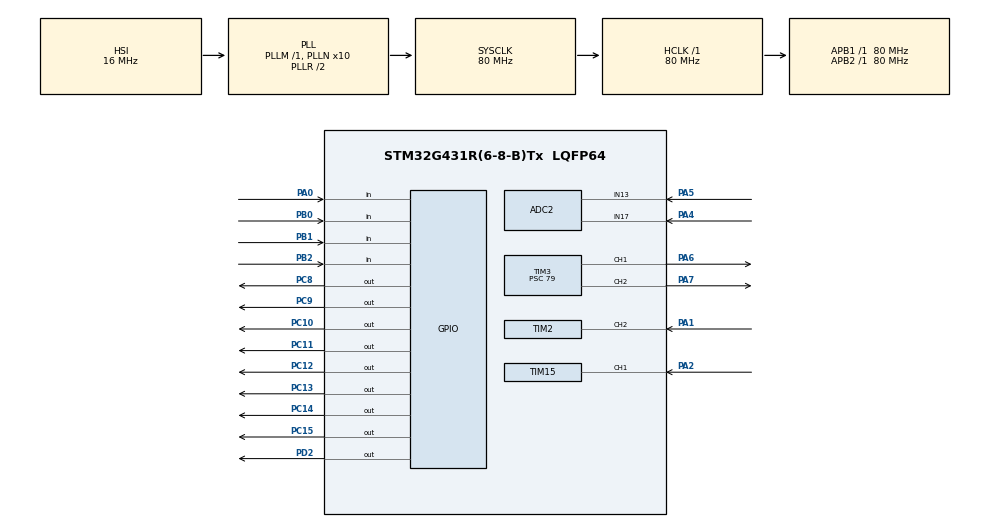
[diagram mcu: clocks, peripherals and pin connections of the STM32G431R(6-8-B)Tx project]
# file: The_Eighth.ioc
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ADC2.Channel-0\#ChannelRegularConversion=ADC_CHANNEL_17
ADC2.NbrOfConversionFlag=1
ADC2.OffsetNumber-0\#ChannelRegularConversion=ADC_OFFSET_NONE
ADC2.Rank-0\#ChannelRegularConversion=1
ADC2.SamplingTime-0\#ChannelRegularConversion=ADC_SAMPLETIME_2CYCLES_5
Mcu.Family=STM32G4
Mcu.Name=STM32G431R(6-8-B)Tx
Mcu.Package=LQFP64
NVIC.PriorityGroup=NVIC_PRIORITYGROUP_4
NVIC.TIM1_BRK_TIM15_IRQn=true\:1\:0\:true\:false\:true\:true\:true
NVIC.TIM2_IRQn=true\:1\:0\:true\:false\:true\:true\:true
NVIC.TIM3_IRQn=true\:1\:0\:true\:false\:true\:true\:true
PA0.Signal=GPIO_Input
PA1.Signal=S_TIM2_CH2
PA2.Signal=S_TIM15_CH1
PA4.Mode=IN17-Single-Ended
PA4.Signal=ADC2_IN17
PA5.Mode=IN13-Single-Ended
PA5.Signal=ADC2_IN13
PA6.Signal=S_TIM3_CH1
PA7.Signal=S_TIM3_CH2
PB0.Signal=GPIO_Input
PB1.Signal=GPIO_Input
PB2.Signal=GPIO_Input
PC10.GPIO_PuPd=GPIO_PULLUP
PC10.Signal=GPIO_Output
PC11.GPIO_PuPd=GPIO_PULLUP
PC11.Signal=GPIO_Output
PC12.GPIO_PuPd=GPIO_PULLUP
PC12.Signal=GPIO_Output
PC13.GPIO_PuPd=GPIO_PULLUP
PC13.Signal=GPIO_Output
PC14-OSC32_IN.GPIO_PuPd=GPIO_PULLUP
PC14-OSC32_IN.Signal=GPIO_Output
PC15-OSC32_OUT.GPIO_PuPd=GPIO_PULLUP
PC15-OSC32_OUT.Signal=GPIO_Output
PC8.GPIO_PuPd=GPIO_PULLUP
PC8.Signal=GPIO_Output
PC9.GPIO_PuPd=GPIO_PULLUP
PC9.Signal=GPIO_Output
PD2.PinState=GPIO_PIN_SET
PD2.Signal=GPIO_Output
ProjectManager.HeapSize=0x200
ProjectManager.StackSize=0x400
ProjectManager.TargetToolchain=MDK-ARM V5.32
RCC.ADC12Freq_Value=80000000
RCC.AHBFreq_Value=80000000
RCC.APB1Freq_Value=80000000
RCC.APB1TimFreq_Value=80000000
RCC.APB2Freq_Value=80000000
RCC.APB2TimFreq_Value=80000000
RCC.CortexFreq_Value=80000000
RCC.EXTERNAL_CLOCK_VALUE=12288000
RCC.HCLKFreq_Value=80000000
RCC.HSE_VALUE=8000000
RCC.HSI48_VALUE=48000000
RCC.HSI_VALUE=16000000
RCC.LSE_VALUE=32768
RCC.PLLN=10
RCC.SYSCLKFreq_VALUE=80000000
RCC.SYSCLKSource=RCC_SYSCLKSOURCE_PLLCLK
RCC.USBFreq_Value=80000000
RCC.VCOOutputFreq_Value=160000000
SH.S_TIM15_CH1.0=TIM15_CH1,Input_Capture1_from_TI1
SH.S_TIM15_CH1.1=TIM15_CH1,TriggerSource_TI1FP1
SH.S_TIM2_CH2.0=TIM2_CH2,Input_Capture2_from_TI2
SH.S_TIM2_CH2.1=TIM2_CH2,TriggerSource_TI2FP2
SH.S_TIM3_CH1.0=TIM3_CH1,Output Compare1 CH1
SH.S_TIM3_CH2.0=TIM3_CH2,Output Compare2 CH2
TIM15.Channel-Input_Capture1_from_TI1=TIM_CHANNEL_1
TIM15.Prescaler=79
TIM2.AutoReloadPreload=TIM_AUTORELOAD_PRELOAD_DISABLE
TIM2.Channel-Input_Capture2_from_TI2=TIM_CHANNEL_2
TIM2.Prescaler=79
TIM3.AutoReloadPreload=TIM_AUTORELOAD_PRELOAD_DISABLE
TIM3.Channel-Output\ Compare1\ CH1=TIM_CHANNEL_1
TIM3.Channel-Output\ Compare2\ CH2=TIM_CHANNEL_2
TIM3.OCMode_1=TIM_OCMODE_TOGGLE
TIM3.OCMode_2=TIM_OCMODE_TOGGLE
TIM3.OCPolarity_1=TIM_OCPOLARITY_LOW
TIM3.OCPolarity_2=TIM_OCPOLARITY_LOW
TIM3.PeriodNoDither=9999
TIM3.Prescaler=79
TIM3.PulseNoDither_1=0
TIM3.PulseNoDither_2=0
VP_SYS_VS_DBSignals.Mode=DisableDeadBatterySignals
VP_TIM15_VS_ClockSourceINT.Mode=Internal
VP_TIM15_VS_ControllerModeReset.Mode=Reset Mode
VP_TIM2_VS_ClockSourceINT.Mode=Internal
VP_TIM2_VS_ControllerModeReset.Mode=Reset Mode
VP_TIM3_VS_ClockSourceINT.Mode=Internal
board=custom

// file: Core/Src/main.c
/* USER CODE BEGIN Header */
/**
  ******************************************************************************
  * @file           : main.c
  * @brief          : Main program body
  ******************************************************************************
  * @attention
  *
  * Copyright (c) 2022 STMicroelectronics.
  * All rights reserved.
  *
  * This software is licensed under terms that can be found in the LICENSE file
  * in the root directory of this software component.
  * If no LICENSE file comes with this software, it is provided AS-IS.
  *
  ******************************************************************************
  */
/* USER CODE END Header */
#include "main.h"
#include "adc.h"
#include "tim.h"
#include "gpio.h"

/* USER CODE BEGIN PV */
__IO uint32_t uwTick_Lcd_Set_Point;
__IO uint32_t uwTick_Key_Set_Point;
__IO uint32_t uwTick_ADC_Set_Point;
__IO uint32_t uwTick_Led_Set_Point;

unsigned char pucStr_Disp[21], pucStr[2];
unsigned char ucKey_Val, ucKey_Down, ucKey_Old;
unsigned char ucState;
uint16_t PULS1_T_Count, PULS2_T_Count;
uint16_t FRQ1, FRQ2;
float ADC_Value_AO1, ADC_Value_AO2;
uint8_t Dividing = 1, Doubling = 1;
unsigned char ucLed;
/* USER CODE END PV */

void SystemClock_Config(void);
/* USER CODE BEGIN PFP */
void Lcd_Proc(void);
void Key_Proc(void);
void ADC_Proc(void);
void Led_Proc(void);
void Output_Ctrl(_Bool state);
/* USER CODE END PFP */

int main(void)
{

  /* MCU Configuration--------------------------------------------------------*/

  /* Reset of all peripherals, Initializes the Flash interface and the Systick. */
  HAL_Init();

  /* Configure the system clock */
  SystemClock_Config();

  /* Initialize all configured peripherals */
  MX_GPIO_Init();
  MX_ADC2_Init();
  MX_TIM2_Init();
  MX_TIM3_Init();
  MX_TIM15_Init();
  /* USER CODE BEGIN 2 */
	LCD_Init();
	LCD_Clear(Black);
	LCD_SetBackColor(Black);
	LCD_SetTextColor(White);

	I2CInit();
	I2C_24CO2_Read(pucStr, 0, 2);
	Dividing = pucStr[0];
	Doubling = pucStr[1];
	if((Dividing < 1) || (Dividing > 4))
		Dividing = 1;
	if((Doubling < 1) || (Doubling > 4))
		Doubling = 1;

	HAL_TIM_IC_Start_IT(&htim2, TIM_CHANNEL_2);
	HAL_TIM_IC_Start_IT(&htim15, TIM_CHANNEL_1);

	HAL_TIM_OC_Start_IT(&htim3, TIM_CHANNEL_1);
	HAL_TIM_OC_Start_IT(&htim3, TIM_CHANNEL_2);
  /* USER CODE END 2 */

  /* Infinite loop */
  while (1)
  {

    /* USER CODE BEGIN 3 */
		Led_Proc();
		Lcd_Proc();
		Key_Proc();
		ADC_Proc();
  }
  /* USER CODE END 3 */
}

void SystemClock_Config(void)
{
  RCC_OscInitTypeDef RCC_OscInitStruct = {0};
  RCC_ClkInitTypeDef RCC_ClkInitStruct = {0};

  /** Configure the main internal regulator output voltage
  */
  HAL_PWREx_ControlVoltageScaling(PWR_REGULATOR_VOLTAGE_SCALE1);
  /** Initializes the RCC Oscillators according to the specified parameters
  * in the RCC_OscInitTypeDef structure.
  */
  RCC_OscInitStruct.OscillatorType = RCC_OSCILLATORTYPE_HSI;
  RCC_OscInitStruct.HSIState = RCC_HSI_ON;
  RCC_OscInitStruct.HSICalibrationValue = RCC_HSICALIBRATION_DEFAULT;
  RCC_OscInitStruct.PLL.PLLState = RCC_PLL_ON;
  RCC_OscInitStruct.PLL.PLLSource = RCC_PLLSOURCE_HSI;
  RCC_OscInitStruct.PLL.PLLM = RCC_PLLM_DIV1;
  RCC_OscInitStruct.PLL.PLLN = 10;
  RCC_OscInitStruct.PLL.PLLP = RCC_PLLP_DIV2;
  RCC_OscInitStruct.PLL.PLLQ = RCC_PLLQ_DIV2;
  RCC_OscInitStruct.PLL.PLLR = RCC_PLLR_DIV2;
  if (HAL_RCC_OscConfig(&RCC_OscInitStruct) != HAL_OK)
  {
    Error_Handler();
  }
  /** Initializes the CPU, AHB and APB buses clocks
  */
  RCC_ClkInitStruct.ClockType = RCC_CLOCKTYPE_HCLK|RCC_CLOCKTYPE_SYSCLK
                              |RCC_CLOCKTYPE_PCLK1|RCC_CLOCKTYPE_PCLK2;
  RCC_ClkInitStruct.SYSCLKSource = RCC_SYSCLKSOURCE_PLLCLK;
  RCC_ClkInitStruct.AHBCLKDivider = RCC_SYSCLK_DIV1;
  RCC_ClkInitStruct.APB1CLKDivider = RCC_HCLK_DIV1;
  RCC_ClkInitStruct.APB2CLKDivider = RCC_HCLK_DIV1;

  if (HAL_RCC_ClockConfig(&RCC_ClkInitStruct, FLASH_LATENCY_2) != HAL_OK)
  {
    Error_Handler();
  }
}

/* USER CODE BEGIN 4 */
void Lcd_Proc(void)
{
	if((uwTick - uwTick_Lcd_Set_Point) <= 100)
		return;
	uwTick_Lcd_Set_Point = uwTick;

	if(!ucState)
	{
		sprintf((char*)pucStr_Disp, "     Measuring      ");
		LCD_DisplayStringLine(Line0, (u8*)pucStr_Disp);
		sprintf((char*)pucStr_Disp, "     PULS1:%2ukHz    ", FRQ1);
		LCD_DisplayStringLine(Line2, (u8*)pucStr_Disp);
		sprintf((char*)pucStr_Disp, "     PULS2:%2ukHz    ", FRQ2);
		LCD_DisplayStringLine(Line4, (u8*)pucStr_Disp);
		sprintf((char*)pucStr_Disp, "       AO1:%3.2fV    ", ADC_Value_AO1);
		LCD_DisplayStringLine(Line6, (u8*)pucStr_Disp);
		sprintf((char*)pucStr_Disp, "       AO2:%3.2fV    ", ADC_Value_AO2);
		LCD_DisplayStringLine(Line8, (u8*)pucStr_Disp);
		sprintf((char*)pucStr_Disp, "                   1");
		LCD_DisplayStringLine(Line9, (u8*)pucStr_Disp);
	}
	else
	{
		sprintf((char*)pucStr_Disp, "   Configuration    ");
		LCD_DisplayStringLine(Line0, (u8*)pucStr_Disp);

		sprintf((char*)pucStr_Disp, "                    ");
		LCD_DisplayStringLine(Line2, (u8*)pucStr_Disp);

		if(ucState == 1) LCD_SetBackColor(Red);
		sprintf((char*)pucStr_Disp, "     DIVIDE:%u       ", Dividing);
		LCD_DisplayStringLine(Line4, (u8*)pucStr_Disp);
		LCD_SetBackColor(Black);

		if(ucState == 2) LCD_SetBackColor(Red);
		sprintf((char*)pucStr_Disp, "     DOUBLE:%u       ", Doubling);
		LCD_DisplayStringLine(Line6, (u8*)pucStr_Disp);
		LCD_SetBackColor(Black);

		sprintf((char*)pucStr_Disp, "                    ");
		LCD_DisplayStringLine(Line8, (u8*)pucStr_Disp);

		sprintf((char*)pucStr_Disp, "                   2");
		LCD_DisplayStringLine(Line9, (u8*)pucStr_Disp);
	}
}

void Key_Proc(void)
{
	if((uwTick - uwTick_Key_Set_Point) <= 50)
		return;
	uwTick_Key_Set_Point = uwTick;

	ucKey_Val = Key_Scan();
	ucKey_Down = ucKey_Val & (ucKey_Old ^ ucKey_Val);
	ucKey_Old = ucKey_Val;

	switch(ucKey_Down)
	{
		case 1:
			if(!ucState)
			{
				ucState = 1;

				Output_Ctrl(0);
//				HAL_TIM_OC_Stop_IT(&htim3, TIM_CHANNEL_1);
//				HAL_TIM_OC_Stop_IT(&htim3, TIM_CHANNEL_2);
			}
			else
			{
				ucState = 0;

				pucStr[0] = Dividing;
				pucStr[1] = Doubling;
				I2C_24C02_Write(pucStr, 0, 2);

				Output_Ctrl(1);
//				HAL_TIM_OC_Start_IT(&htim3, TIM_CHANNEL_1);
//				HAL_TIM_OC_Start_IT(&htim3, TIM_CHANNEL_2);
			}
		break;

		case 2:
			if(ucState)
			{
				if(++ucState == 3)
					ucState = 1;
			}
		break;

		case 3:
			if(ucState == 1)
			{
				if(Dividing < 4)
					Dividing++;
			}
			if(ucState == 2)
			{
				if(Doubling < 4)
					Doubling++;
			}
		break;

		case 4:
			if(ucState == 1)
			{
				if(Dividing > 1)
					Dividing--;
			}
			if(ucState == 2)
			{
				if(Doubling > 1)
					Doubling--;
			}
		break;
	}
}

void ADC_Proc(void)
{
	uint16_t ADC_Buf[10];
	uint16_t temp;

	if((uwTick - uwTick_ADC_Set_Point) <= 20)
		return;
	uwTick_ADC_Set_Point = uwTick;

	for(int i = 0; i < 10; i++)
	{
		ADC_Buf[i] = Get_ADC2_AO1();
	}
	for(int i = 0; i <= 5; i++)
	{
		for(int j = 0; j < 9 - i - 1; j++)
		{
			if(ADC_Buf[j] > ADC_Buf[j + 1])
			{
				temp = ADC_Buf[j + 1];
				ADC_Buf[j + 1] = ADC_Buf[j];
				ADC_Buf[j] = temp;
			}
		}
	}
	ADC_Value_AO1 = (ADC_Buf[4] + ADC_Buf[5]) / 2 / 4095. * 3.3;

	for(int i = 0; i < 10; i++)
	{
		ADC_Buf[i] = Get_ADC2_AO2();
	}
	for(int i = 0; i <= 5; i++)
	{
		for(int j = 0; j < 9 - i - 1; j++)
		{
			if(ADC_Buf[j] > ADC_Buf[j + 1])
			{
				temp = ADC_Buf[j + 1];
				ADC_Buf[j + 1] = ADC_Buf[j];
				ADC_Buf[j] = temp;
			}
		}
	}
	ADC_Value_AO2 = (ADC_Buf[4] + ADC_Buf[5]) / 2 / 4095. * 3.3;
}

void Led_Proc(void)
{
	if((uwTick - uwTick_Led_Set_Point) <= 100)
		return;
	uwTick_Led_Set_Point = uwTick;

	if(!ucState)
	{
		ucLed &= ~0x01;
	}
	else
	{
		ucLed |= 0x01;
	}

	if(ADC_Value_AO1 > ADC_Value_AO2)
	{
		ucLed |= 0x80;
	}
	else
	{
		ucLed &= ~0x80;
	}

	Led_Disp(ucLed);
}

void Output_Ctrl(_Bool State)
{
	GPIO_InitTypeDef GPIO_InitStruct = {0};
	GPIO_InitStruct.Pin = GPIO_PIN_6|GPIO_PIN_7;
	if(State == 1)
	{
		GPIO_InitStruct.Mode = GPIO_MODE_AF_PP;
		GPIO_InitStruct.Alternate = GPIO_AF2_TIM3;
	}
	else
	{
		GPIO_InitStruct.Mode = GPIO_MODE_OUTPUT_PP;
	}
  GPIO_InitStruct.Pull = GPIO_NOPULL;
	GPIO_InitStruct.Speed = GPIO_SPEED_FREQ_LOW;

	HAL_GPIO_Init(GPIOA, &GPIO_InitStruct);
}

void HAL_TIM_IC_CaptureCallback(TIM_HandleTypeDef *htim)
{
	if(htim->Instance == TIM2)
	{
		if(htim->Channel == HAL_TIM_ACTIVE_CHANNEL_2)
		{
			PULS1_T_Count = HAL_TIM_ReadCapturedValue(&htim2, TIM_CHANNEL_2) + 1;
			FRQ1 = 1000 / PULS1_T_Count;
		}
	}
	else if(htim->Instance == TIM15)
	{
		if(htim->Channel == HAL_TIM_ACTIVE_CHANNEL_1)
		{
			PULS2_T_Count = HAL_TIM_ReadCapturedValue(&htim15, TIM_CHANNEL_1) + 1;
			FRQ2 = 1000 / PULS2_T_Count;
		}
	}
}

void HAL_TIM_OC_DelayElapsedCallback(TIM_HandleTypeDef *htim)
{
	if(htim->Instance == TIM3)
	{
		if(htim->Channel == HAL_TIM_ACTIVE_CHANNEL_1)
		{
			__HAL_TIM_SET_COMPARE(htim, TIM_CHANNEL_1, (__HAL_TIM_GetCounter(htim) + HAL_TIM_ReadCapturedValue(&htim2, TIM_CHANNEL_2) / 2 * Dividing));
		}
		else if(htim->Channel == HAL_TIM_ACTIVE_CHANNEL_2)
		{
			__HAL_TIM_SET_COMPARE(htim, TIM_CHANNEL_2, (__HAL_TIM_GetCounter(htim) + HAL_TIM_ReadCapturedValue(&htim15, TIM_CHANNEL_1) / 2 / Doubling));
		}
	}
}
/* USER CODE END 4 */

void Error_Handler(void)
{
  __disable_irq();
  while (1)
  {
  }
}
